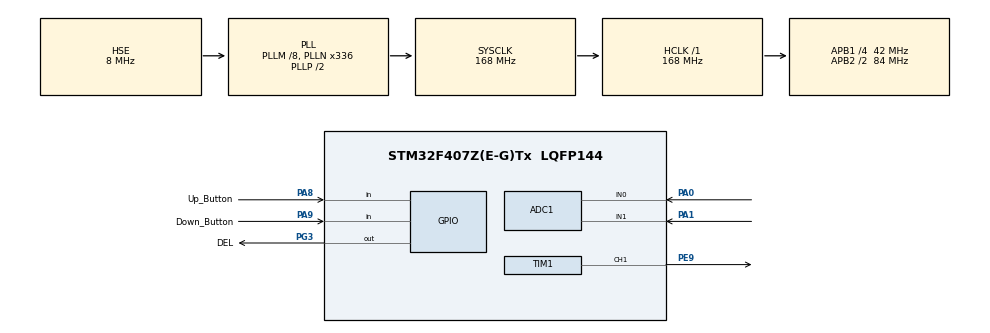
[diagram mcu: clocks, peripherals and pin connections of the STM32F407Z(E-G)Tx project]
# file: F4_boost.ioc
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ADC1.ContinuousConvMode=ENABLE
ADC1.DMAContinuousRequests=ENABLE
ADC1.NbrOfConversionFlag=1
ADC1.ScanConvMode=ENABLE
ADC1.master=1
Dma.ADC1.0.Direction=DMA_PERIPH_TO_MEMORY
Dma.ADC1.0.FIFOMode=DMA_FIFOMODE_DISABLE
Dma.ADC1.0.Instance=DMA2_Stream0
Dma.ADC1.0.MemDataAlignment=DMA_MDATAALIGN_WORD
Dma.ADC1.0.MemInc=DMA_MINC_ENABLE
Dma.ADC1.0.Mode=DMA_CIRCULAR
Dma.ADC1.0.PeriphDataAlignment=DMA_PDATAALIGN_WORD
Dma.ADC1.0.PeriphInc=DMA_PINC_DISABLE
Dma.ADC1.0.Priority=DMA_PRIORITY_LOW
Dma.Request0=ADC1
Mcu.Family=STM32F4
Mcu.Name=STM32F407Z(E-G)Tx
Mcu.Package=LQFP144
NVIC.DMA2_Stream0_IRQn=true\:0\:0\:false\:false\:true\:false\:true
NVIC.PriorityGroup=NVIC_PRIORITYGROUP_4
NVIC.TIM3_IRQn=true\:0\:0\:false\:false\:true\:true\:true
NVIC.TIM4_IRQn=true\:0\:0\:false\:false\:true\:true\:true
PA0-WKUP.Signal=ADCx_IN0
PA1.Signal=ADCx_IN1
PA13.Mode=Serial_Wire
PA13.Signal=SYS_JTMS-SWDIO
PA14.Mode=Serial_Wire
PA14.Signal=SYS_JTCK-SWCLK
PA8.GPIO_Label=Up_Button
PA8.Signal=GPIO_Input
PA9.GPIO_Label=Down_Button
PA9.Signal=GPIO_Input
PC14-OSC32_IN.Mode=LSE-External-Oscillator
PC14-OSC32_IN.Signal=RCC_OSC32_IN
PC15-OSC32_OUT.Mode=LSE-External-Oscillator
PC15-OSC32_OUT.Signal=RCC_OSC32_OUT
PE9.Signal=S_TIM1_CH1
PG3.GPIO_Label=DEL
PG3.GPIO_ModeDefaultOutputPP=GPIO_MODE_OUTPUT_OD
PG3.Signal=GPIO_Output
PH0-OSC_IN.Mode=HSE-External-Oscillator
PH0-OSC_IN.Signal=RCC_OSC_IN
PH1-OSC_OUT.Mode=HSE-External-Oscillator
PH1-OSC_OUT.Signal=RCC_OSC_OUT
ProjectManager.HeapSize=0x200
ProjectManager.StackSize=0x400
ProjectManager.TargetToolchain=STM32CubeIDE
RCC.48MHZClocksFreq_Value=84000000
RCC.AHBFreq_Value=168000000
RCC.APB1CLKDivider=RCC_HCLK_DIV4
RCC.APB1Freq_Value=42000000
RCC.APB1TimFreq_Value=84000000
RCC.APB2CLKDivider=RCC_HCLK_DIV2
RCC.APB2Freq_Value=84000000
RCC.APB2TimFreq_Value=168000000
RCC.CortexFreq_Value=168000000
RCC.HCLKFreq_Value=168000000
RCC.HSE_VALUE=8000000
RCC.HSI_VALUE=16000000
RCC.PLLM=8
RCC.PLLN=336
RCC.PLLSourceVirtual=RCC_PLLSOURCE_HSE
RCC.SYSCLKFreq_VALUE=168000000
RCC.SYSCLKSource=RCC_SYSCLKSOURCE_PLLCLK
RCC.VCOOutputFreq_Value=336000000
SH.ADCx_IN0.0=ADC1_IN0,IN0
SH.ADCx_IN1.0=ADC1_IN1,IN1
SH.S_TIM1_CH1.0=TIM1_CH1,PWM Generation1 CH1
TIM1.Channel-PWM\ Generation1\ CH1=TIM_CHANNEL_1
TIM1.Period=1000-1
TIM1.Prescaler=8-1
TIM1.Pulse-PWM\ Generation1\ CH1=700
TIM3.Period=1000-1
TIM3.Prescaler=840-1
TIM4.Period=1000-1
TIM4.Prescaler=840-1
VP_TIM1_VS_ClockSourceINT.Mode=Internal
VP_TIM3_VS_ClockSourceINT.Mode=Internal
VP_TIM4_VS_ClockSourceINT.Mode=Internal
board=custom

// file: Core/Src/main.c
/* USER CODE BEGIN Header */
/**
  ******************************************************************************
  * @file           : main.c
  * @brief          : Main program body
  ******************************************************************************
  * @attention
  *
  * <h2><center>&copy; Copyright (c) 2020 STMicroelectronics.
  * All rights reserved.</center></h2>
  *
  * This software component is licensed by ST under BSD 3-Clause license,
  * the "License"; You may not use this file except in compliance with the
  * License. You may obtain a copy of the License at:
  *                        opensource.org/licenses/BSD-3-Clause
  *
  ******************************************************************************
  */
/* USER CODE END Header */

#include "main.h"
#include "adc.h"
#include "dma.h"
#include "tim.h"
#include "gpio.h"

/* USER CODE BEGIN Includes */
#include "pid.h" //pid运算头文件
/* USER CODE END Includes */

/* USER CODE BEGIN PD */
#define Sample_Num 100 //每一个通道的采样数
#define Channel_Num  2//通道数量， 一个为电压量，一个为电流量。
/* USER CODE END PD */

/* USER CODE BEGIN PV */
uint32_t ADC_ConvertedValue[Sample_Num][Channel_Num]; //定义DMA数据的存储地址
float ADC_Valuetmp[Sample_Num][Channel_Num]; //DMA数据的缓冲区
float ADC_ValueAverage[Channel_Num]; //用于存储滤波处理之后的数据
uint16_t DMA_Data_Ready_Flag = 0; //DMA数据就绪标志，为1表示数据已移至缓冲区，为0表示等待数据采集。
float Target_V = 1; //设置目标电压值
float Max_I = 1; //设置最大电流(为AD采样前 电流转换后 的模拟电压值)
uint16_t Pwm_Reload_Value = 1000; //pwm自动重装值
uint16_t Pwm_Compare_Value = 700; //pwm比较值 二者之比即为占空比
uint16_t Up_Button_Num = 0; //定时器消抖所需的临时变量
uint16_t Down_Button_Num = 0;
uint16_t Up_Button_Flag = 0; //升压按钮按下的标志
uint16_t Down_Button_Flag = 0; //降压按钮按下的标志
/* USER CODE END PV */

void SystemClock_Config(void);

int main(void)
{

  /* MCU Configuration--------------------------------------------------------*/

  /* Reset of all peripherals, Initializes the Flash interface and the Systick. */
  HAL_Init();

  /* Configure the system clock */
  SystemClock_Config();

  /* Initialize all configured peripherals */
  MX_GPIO_Init();
  MX_DMA_Init();
  MX_ADC1_Init();
  MX_TIM1_Init();
  MX_TIM3_Init();
  MX_TIM4_Init();
  /* USER CODE BEGIN 2 */
  HAL_ADC_Start_DMA(&hadc1, (uint32_t*)ADC_ConvertedValue, Sample_Num * Channel_Num); //开启ADC的DMA采集通道
  HAL_TIM_PWM_Start(&htim1,TIM_CHANNEL_1); //开启PWM输出，重装值为1000，比较值为700
  //__HAL_TIM_SET_COMPARE(&htim1, TIM_CHANNEL_1, n);通过此函数调节占空比
  Set_PID_Parameter(KP,KI,KD); //PID调节参数

  HAL_TIM_Base_Start_IT(&htim3); //开启定时器3中断，10ms
  HAL_TIM_Base_Start_IT(&htim4);//开启定时器4中断，10ms

  /* USER CODE END 2 */

  /* Infinite loop */
  /* USER CODE BEGIN WHILE */
  while (1)
  {
	  if(Up_Button_Flag != 0) { //如果升压按键被按下
		  Target_V += 0.05; //目标电压增加
		  Up_Button_Flag = 0; //标志位清零
	  }
	  if(Down_Button_Flag != 0) { //如果降压按键被按下
	 		  Target_V -= 0.05; //目标电压减小
	 		  Down_Button_Flag = 0; //标志位清零
	  }
	  if(DMA_Data_Ready_Flag == 1) { //数据已到达缓冲区，进行数据处理
	  		  //首先对数据的每一列做排序
	  		  for(int l=0; l<Channel_Num; l++) {
	  			  for(int i=0; i<Sample_Num-1; i++) { // 冒泡排序
	  				  for(int j=0; j<Sample_Num-i; j++) {
	  					  if(ADC_Valuetmp[j][l] > ADC_Valuetmp[j+1][l]) {
	  						  float tmp = ADC_Valuetmp[j][l];
	  						  ADC_Valuetmp[j][l] = ADC_Valuetmp[j+1][l];
	  						  ADC_Valuetmp[j+1][l] = tmp;
	  					  }
	  				  }
	  			  }
	  		  }
	  		  //然后取排序后中间部分的值求和平均滤波
	  		  for(int l=0; l<Channel_Num; l++) {
	  			  float Sum = 0;
	  			  for(int i=Sample_Num/2-25; i<Sample_Num/2+25; i++) {	//取中间值算平均值
	  				  Sum += ADC_Valuetmp[i][l];
	  			  }
	  			  ADC_ValueAverage[l] = Sum/50;
	  		  }

	  		  if(ADC_ValueAverage[1] < Max_I) { //如果采集到的电流值小于最大电流，则保持恒压状态
	  			  float Pid_Output = PID_Calc(ADC_ValueAverage[0], Target_V); //进行Pid运算
	  			  Pwm_Compare_Value += (uint16_t) Pid_Output; //pwm比较值加上pid运算结果，实现闭环控制
	  			  if(Pwm_Compare_Value >= Pwm_Reload_Value) {//如果占空比大于1则，回调为1/2
	  				  Pwm_Compare_Value = Pwm_Reload_Value/2;
	  			  }
	  			  if(Pwm_Compare_Value <= 0) { //如果占空比小于0则调为0
	  				  Pwm_Compare_Value = 0;
	  			  }
	  			  __HAL_TIM_SET_COMPARE(&htim1, TIM_CHANNEL_1, Pwm_Compare_Value); //进行占空比调整
	  		  }

	  		  if(ADC_ValueAverage[1] >= Max_I) { //如果采集到的电流值大于最大电流,则使电路停止输出
	  			  __HAL_TIM_SET_COMPARE(&htim1, TIM_CHANNEL_1, 2); //占空比调低
	  			  while(1); //进入死循环，等待重启系统
	  		  }
	  		/*
	  				  if(ADC_ValueAverage[1] >= Max_I) { //如果采集到的电流值大于最大电流，则转为恒流状态
	  					  float Pid_Output = PID_Calc(ADC_ValueAverage[1], Max_I); //进行Pid运算
	  					  Pwm_Compare_Value += (uint16_t) Pid_Output; //pwm比较值加上pid运算结果，实现闭环控制
	  					  if(Pwm_Compare_Value >= Pwm_Reload_Value) {//如果占空比大于1则，回调为1/2
	  						  Pwm_Compare_Value = Pwm_Reload_Value/2;
	  					  }
	  					  if(Pwm_Compare_Value <= 0) { //如果占空比小于0则调为0
	  						  Pwm_Compare_Value = 0;
	  					  }
	  					  __HAL_TIM_SET_COMPARE(&htim1, TIM_CHANNEL_1, Pwm_Compare_Value); //进行占空比调整
	  				  }
	  				  */

		  DMA_Data_Ready_Flag = 0; //准备下一轮采样
	  }
    /* USER CODE END WHILE */

  }
}

void SystemClock_Config(void)
{
  RCC_OscInitTypeDef RCC_OscInitStruct = {0};
  RCC_ClkInitTypeDef RCC_ClkInitStruct = {0};

  /** Configure the main internal regulator output voltage
  */
  __HAL_RCC_PWR_CLK_ENABLE();
  __HAL_PWR_VOLTAGESCALING_CONFIG(PWR_REGULATOR_VOLTAGE_SCALE1);
  /** Initializes the CPU, AHB and APB busses clocks
  */
  RCC_OscInitStruct.OscillatorType = RCC_OSCILLATORTYPE_HSE;
  RCC_OscInitStruct.HSEState = RCC_HSE_ON;
  RCC_OscInitStruct.PLL.PLLState = RCC_PLL_ON;
  RCC_OscInitStruct.PLL.PLLSource = RCC_PLLSOURCE_HSE;
  RCC_OscInitStruct.PLL.PLLM = 8;
  RCC_OscInitStruct.PLL.PLLN = 336;
  RCC_OscInitStruct.PLL.PLLP = RCC_PLLP_DIV2;
  RCC_OscInitStruct.PLL.PLLQ = 4;
  if (HAL_RCC_OscConfig(&RCC_OscInitStruct) != HAL_OK)
  {
    Error_Handler();
  }
  /** Initializes the CPU, AHB and APB busses clocks
  */
  RCC_ClkInitStruct.ClockType = RCC_CLOCKTYPE_HCLK|RCC_CLOCKTYPE_SYSCLK
                              |RCC_CLOCKTYPE_PCLK1|RCC_CLOCKTYPE_PCLK2;
  RCC_ClkInitStruct.SYSCLKSource = RCC_SYSCLKSOURCE_PLLCLK;
  RCC_ClkInitStruct.AHBCLKDivider = RCC_SYSCLK_DIV1;
  RCC_ClkInitStruct.APB1CLKDivider = RCC_HCLK_DIV4;
  RCC_ClkInitStruct.APB2CLKDivider = RCC_HCLK_DIV2;

  if (HAL_RCC_ClockConfig(&RCC_ClkInitStruct, FLASH_LATENCY_5) != HAL_OK)
  {
    Error_Handler();
  }
}

/* USER CODE BEGIN 4 */

/*此函数为DMA一轮采集数据完成后的DMA中断*/
void HAL_ADC_ConvCpltCallback(ADC_HandleTypeDef* hadc) {

	if(DMA_Data_Ready_Flag == 0) { //主函数处于等待数据采集状态时。
		/*将采集的数据移动到缓冲区*/
		for(int x = 0; x < Sample_Num; x++) {
			for(int y = 0; y < Channel_Num; y++) {
				ADC_Valuetmp[x][y] = (float)ADC_ConvertedValue[x][y] / 4096 * 3.3;
			}
		}
		DMA_Data_Ready_Flag = 1; //将标志置1，告诉主函数对缓冲区中的数据做处理。
	}
	else {
		//主函数未处理完数据，采集到的数据丢弃。
	}

}

//定时中断函数
void HAL_TIM_PeriodElapsedCallback(TIM_HandleTypeDef *htim) {
	if(htim->Instance == htim3.Instance) { //如果是定时器3的中断
		if(HAL_GPIO_ReadPin(Up_Button_GPIO_Port, Up_Button_Pin) == GPIO_PIN_RESET) { //按键被按下
			Up_Button_Num++;//按键按下的时间为Down_Button_Num*10ms
		}
		if(Up_Button_Num >= 10 && HAL_GPIO_ReadPin(Up_Button_GPIO_Port, Up_Button_Pin) == GPIO_PIN_SET) {//如果按下超过100ms并且以及松开
			Up_Button_Flag++;//则认为为有效的按键操作
			Up_Button_Num = 0;//清零，准备下一次按下
		}
	}

	if(htim->Instance == htim4.Instance) { //如果是定时器4的中断
			if(HAL_GPIO_ReadPin(Down_Button_GPIO_Port, Down_Button_Pin) == GPIO_PIN_RESET) { //按键被按下
				Down_Button_Num++; //按键按下的时间为Down_Button_Num*10ms
			}
			if(num >= 10 && HAL_GPIO_ReadPin(Down_Button_GPIO_Port, Down_Button_Pin) == GPIO_PIN_SET) { //如果按下超过100ms并且以及松开
				Down_Button_Flag++; //则认为为有效的按键操作
				Down_Button_Num = 0; //清零，准备下一次按下
			}
		}

}

/* USER CODE END 4 */

void Error_Handler(void)
{
}

/************************ (C) COPYRIGHT STMicroelectronics *****END OF FILE****/
